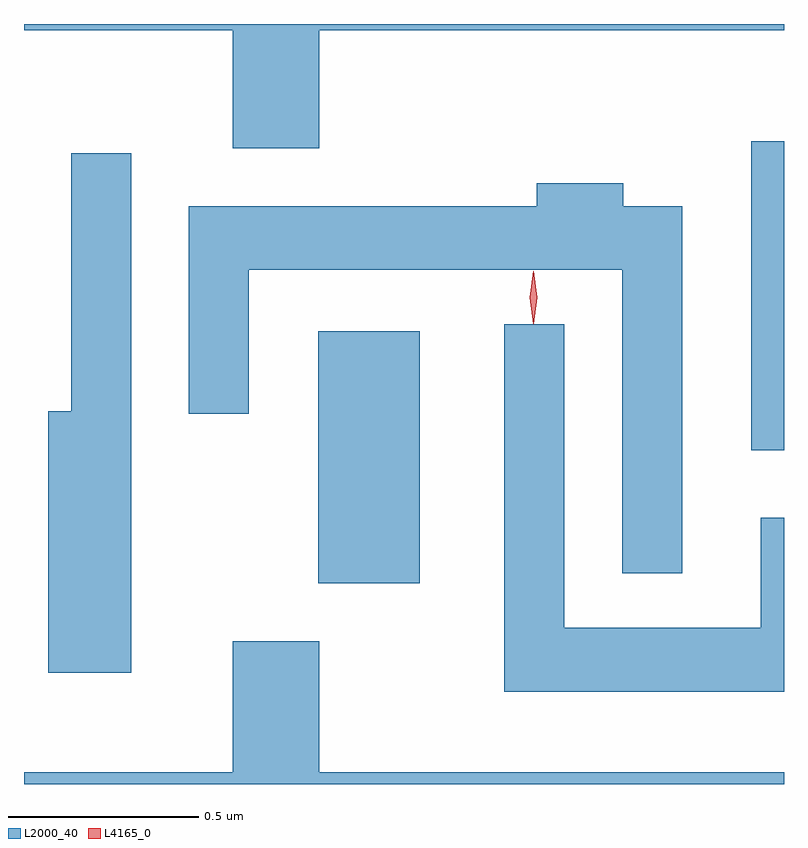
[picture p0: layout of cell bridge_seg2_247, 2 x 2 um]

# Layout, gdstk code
import gdstk
lib = gdstk.Library(unit=1e-6, precision=1e-09)
def R(c, l, rs):  # rectangles x0, y0, x1, y1
    for r in rs: c.add(gdstk.rectangle(r[:2], r[2:], *l))
def P(c, l, *ps):  # polygons
    for p in ps: c.add(gdstk.Polygon(p, *l))
L2000_40 = (2000, 40)
L4165_0 = (4165, 0)

bridge_seg2_247 = lib.new_cell('bridge_seg2_247')
R(bridge_seg2_247, L2000_40, [(541.976,1097.921,542.244,1098.584), (543.116,1098.271,543.202,1099.084)])
P(bridge_seg2_247, L2000_40, [(541.979,1099.376),(543.202,1099.376),(543.202,1099.393),(541.202,1099.393),(541.202,1099.376),(541.751,1099.376),(541.751,1099.066),(541.979,1099.066)],
  [(541.484,1099.053),(541.326,1099.053),(541.326,1098.374),(541.266,1098.374),(541.266,1097.686),(541.484,1097.686)],
  [(542.934,1098.914),(542.779,1098.914),(542.779,1098.974),(542.551,1098.974),(542.551,1098.914),(541.636,1098.914),(541.636,1098.368),(541.794,1098.368),(541.794,1098.746),(542.776,1098.746),(542.776,1097.948),(542.934,1097.948)],
  [(543.202,1098.094),(543.141,1098.094),(543.141,1097.804),(542.624,1097.804),(542.624,1098.603),(542.466,1098.603),(542.466,1097.636),(543.202,1097.636)],
  [(543.202,1097.424),(541.979,1097.424),(541.979,1097.769),(541.751,1097.769),(541.751,1097.424),(541.202,1097.424),(541.202,1097.393),(543.202,1097.393)])
P(bridge_seg2_247, L4165_0, [(542.543,1098.603),(542.542,1098.604),(542.533,1098.673),(542.542,1098.742),(542.543,1098.743),(542.543,1098.742),(542.553,1098.673),(542.543,1098.604)],
  [(542.543,1098.607),(542.543,1098.608),(542.533,1098.674),(542.542,1098.74),(542.543,1098.74),(542.543,1098.74),(542.553,1098.674),(542.544,1098.608)])

lib.write_gds('bridge_seg2_247.gds')
